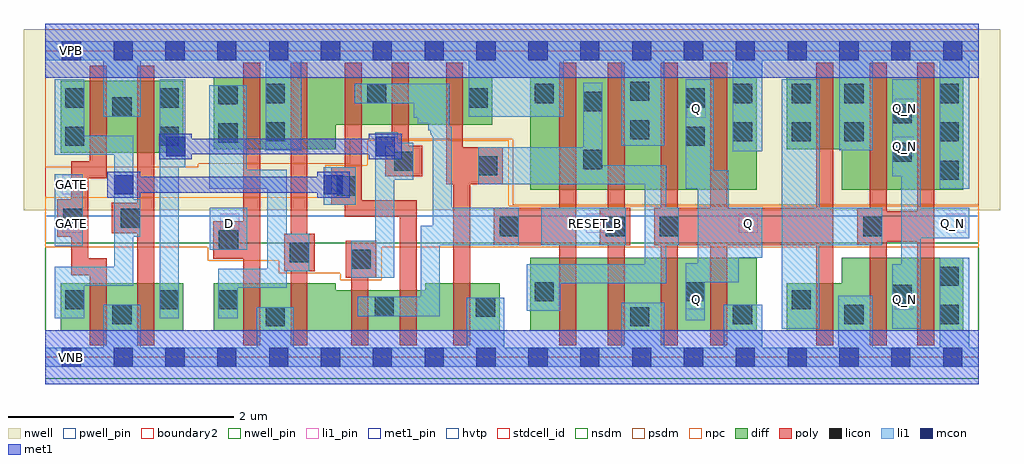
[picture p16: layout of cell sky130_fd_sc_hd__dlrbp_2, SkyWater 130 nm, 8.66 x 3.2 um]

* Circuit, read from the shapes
.subckt sky130_fd_sc_hd__dlrbp_2 D GATE Q Q_N RESET_B VGND VNB VPB VPWR
XM1 VGND GATE n1 VNB sky130_fd_pr__nfet_01v8 w=0.42 l=0.15
XM2 n2 n1 VGND VNB sky130_fd_pr__nfet_01v8 w=0.42 l=0.15
XM3 VGND D n3 VNB sky130_fd_pr__nfet_01v8 w=0.42 l=0.15
XM4 n4 n3 VGND VNB sky130_fd_pr__nfet_01v8 w=0.42 l=0.15
XM5 n5 n2 n4 VNB sky130_fd_pr__nfet_01v8 w=0.36 l=0.15
XM6 n6 n1 n5 VNB sky130_fd_pr__nfet_01v8 w=0.36 l=0.15
XM7 VGND n7 n6 VNB sky130_fd_pr__nfet_01v8 w=0.42 l=0.15
XM8 n8 n5 n7 VNB sky130_fd_pr__nfet_01v8 w=0.65 l=0.15
XM9 VGND RESET_B n8 VNB sky130_fd_pr__nfet_01v8 w=0.65 l=0.15
XM10 Q n7 VGND VNB sky130_fd_pr__nfet_01v8 w=0.65 l=0.15 m=2
XM11 VGND n7 n9 VNB sky130_fd_pr__nfet_01v8 w=0.42 l=0.15
XM12 Q_N n9 VGND VNB sky130_fd_pr__nfet_01v8 w=0.65 l=0.15 m=2
XM13 VPWR GATE n1 VPB sky130_fd_pr__pfet_01v8_hvt w=0.64 l=0.15
XM14 n2 n1 VPWR VPB sky130_fd_pr__pfet_01v8_hvt w=0.64 l=0.15
XM15 VPWR D n3 VPB sky130_fd_pr__pfet_01v8_hvt w=0.64 l=0.15
XM16 n10 n3 VPWR VPB sky130_fd_pr__pfet_01v8_hvt w=0.64 l=0.15
XM17 n5 n1 n10 VPB sky130_fd_pr__pfet_01v8_hvt w=0.42 l=0.15
XM18 n11 n2 n5 VPB sky130_fd_pr__pfet_01v8_hvt w=0.42 l=0.15
XM19 VPWR n7 n11 VPB sky130_fd_pr__pfet_01v8_hvt w=0.42 l=0.15
XM20 n7 n5 VPWR VPB sky130_fd_pr__pfet_01v8_hvt w=1 l=0.15
XM21 VPWR RESET_B n7 VPB sky130_fd_pr__pfet_01v8_hvt w=1 l=0.15
XM22 Q n7 VPWR VPB sky130_fd_pr__pfet_01v8_hvt w=1 l=0.15 m=2
XM23 VPWR n7 n9 VPB sky130_fd_pr__pfet_01v8_hvt w=0.64 l=0.15
XM24 Q_N n9 VPWR VPB sky130_fd_pr__pfet_01v8_hvt w=1 l=0.15 m=2
.ends

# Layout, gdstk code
import gdstk
lib = gdstk.Library(unit=1e-6, precision=1e-09)
def R(c, l, rs):  # rectangles x0, y0, x1, y1
    for r in rs: c.add(gdstk.rectangle(r[:2], r[2:], *l))
def A(c, l, x, y, w, h, nx, ny, dx, dy):  # array of equal rectangles
    R(c, l, [(x+i*dx, y+j*dy, x+i*dx+w, y+j*dy+h) for i in range(nx) for j in range(ny)])
def P(c, l, *ps):  # polygons
    for p in ps: c.add(gdstk.Polygon(p, *l))
nwell_pin = (64, 16)
nwell = (64, 20)
diff = (65, 20)
poly = (66, 20)
licon = (66, 44)
li1_pin = (67, 16)
li1 = (67, 20)
mcon = (67, 44)
met1_pin = (68, 16)
met1 = (68, 20)
hvtp = (78, 44)
stdcell_id = (81, 4)
nsdm = (93, 44)
psdm = (94, 20)
npc = (95, 20)
pwell_pin = (122, 16)
boundary2 = (236, 0)

sky130_fd_sc_hd__dlrbp_2 = lib.new_cell('sky130_fd_sc_hd__dlrbp_2')
R(sky130_fd_sc_hd__dlrbp_2, nwell_pin, [(0.15,2.635,0.32,2.805), (0.15,2.635,0.32,2.805)])
R(sky130_fd_sc_hd__dlrbp_2, nwell, [(-0.19,1.305,8.47,2.91)])
R(sky130_fd_sc_hd__dlrbp_2, diff, [(0.135,0.235,1.225,0.655), (4.3,0.235,6.31,0.885), (4.3,1.485,6.31,2.485), (0.135,1.815,1.225,2.455)])
P(sky130_fd_sc_hd__dlrbp_2, diff, [(1.495,1.845),(1.495,2.485),(3.965,2.485),(3.965,2.065),(2.575,2.065),(2.575,1.845)],
  [(1.495,0.235),(1.495,0.655),(2.575,0.655),(2.575,0.595),(3.37,0.595),(3.37,0.655),(4.03,0.655),(4.03,0.235)],
  [(7.065,1.485),(7.065,1.845),(6.58,1.845),(6.58,2.485),(8.145,2.485),(8.145,1.485)],
  [(6.58,0.235),(6.58,0.655),(7.065,0.655),(7.065,0.885),(8.145,0.885),(8.145,0.235)])
P(sky130_fd_sc_hd__dlrbp_2, poly, [(3.62,0.105),(3.62,1.535),(3.555,1.535),(3.555,2.615),(3.705,2.615),(3.705,1.865),(4.06,1.865),(4.06,1.535),(3.77,1.535),(3.77,0.105)],
  [(0.395,0.105),(0.395,0.73),(0.23,0.73),(0.23,1.07),(0.105,1.07),(0.105,1.4),(0.23,1.4),(0.23,1.74),(0.395,1.74),(0.395,2.585),(0.545,2.585),(0.545,1.59),(0.38,1.59),(0.38,0.88),(0.545,0.88),(0.545,0.105)],
  [(0.815,0.105),(0.815,1.1),(0.59,1.1),(0.59,1.37),(0.815,1.37),(0.815,2.585),(0.965,2.585),(0.965,0.105)],
  [(1.755,0.105),(1.755,0.875),(1.49,0.875),(1.49,1.205),(1.755,1.205),(1.755,2.615),(1.905,2.615),(1.905,0.105)],
  [(2.175,0.105),(2.175,0.765),(2.12,0.765),(2.12,1.095),(2.175,1.095),(2.175,2.615),(2.325,2.615),(2.325,1.095),(2.39,1.095),(2.39,0.765),(2.325,0.765),(2.325,0.105)],
  [(2.715,0.105),(2.715,0.705),(2.665,0.705),(2.665,1.035),(2.935,1.035),(2.935,0.705),(2.865,0.705),(2.865,0.105)],
  [(3.145,0.105),(3.145,1.245),(2.655,1.245),(2.655,1.355),(2.535,1.355),(2.535,1.685),(2.655,1.685),(2.655,2.615),(2.805,2.615),(2.805,1.395),(3.295,1.395),(3.295,0.105)],
  [(4.56,0.105),(4.56,0.995),(3.98,0.995),(3.98,1.325),(4.56,1.325),(4.56,2.615),(4.71,2.615),(4.71,0.105)],
  [(3.015,1.605),(3.015,1.875),(3.075,1.875),(3.075,2.615),(3.225,2.615),(3.225,1.875),(3.345,1.875),(3.345,1.605)],
  [(4.99,0.105),(4.99,0.995),(4.92,0.995),(4.92,1.325),(4.99,1.325),(4.99,2.615),(5.14,2.615),(5.14,1.325),(5.19,1.325),(5.19,0.995),(5.14,0.995),(5.14,0.105)],
  [(7.315,0.105),(7.315,0.995),(7.205,0.995),(7.205,1.325),(7.315,1.325),(7.315,2.615),(7.465,2.615),(7.465,1.295),(7.735,1.295),(7.735,2.615),(7.885,2.615),(7.885,0.105),(7.735,0.105),(7.735,1.025),(7.465,1.025),(7.465,0.105)],
  [(5.46,0.105),(5.46,0.995),(5.4,0.995),(5.4,1.325),(5.46,1.325),(5.46,2.615),(5.61,2.615),(5.61,1.325),(5.9,1.325),(5.9,2.615),(6.05,2.615),(6.05,1.325),(6.84,1.325),(6.84,2.615),(6.99,2.615),(6.99,0.105),(6.84,0.105),(6.84,0.995),(6.05,0.995),(6.05,0.105),(5.9,0.105),(5.9,0.995),(5.61,0.995),(5.61,0.105)])
A(sky130_fd_sc_hd__dlrbp_2, licon, 7.935, 1.575, 0.17, 0.17, 1, 3, 0, 0.34)
R(sky130_fd_sc_hd__dlrbp_2, licon, [(1.955,0.275,2.125,0.445), (5.19,0.275,5.36,0.445), (0.595,0.295,0.765,0.465), (6.1,0.295,6.27,0.465), (7.09,0.295,7.26,0.465), (7.935,0.295,8.105,0.465), (3.82,0.36,3.99,0.53), (2.92,0.365,3.09,0.535), (0.175,0.425,0.345,0.595), (1.015,0.425,1.185,0.595), (1.535,0.425,1.705,0.595), (6.62,0.425,6.79,0.595), (7.515,0.475,7.685,0.645), (4.34,0.495,4.51,0.665), (5.68,0.495,5.85,0.665), (7.935,0.635,8.105,0.805), (2.715,0.785,2.885,0.955), (2.17,0.845,2.34,1.015), (1.54,0.955,1.71,1.125), (4.03,1.075,4.2,1.245), (4.97,1.075,5.14,1.245), (5.45,1.075,5.62,1.245), (7.255,1.075,7.425,1.245), (0.16,1.15,0.33,1.32), (0.67,1.15,0.84,1.32), (2.585,1.435,2.755,1.605), (3.84,1.615,4.01,1.785), (3.095,1.655,3.265,1.825), (4.77,1.67,4.94,1.84), (7.515,1.735,7.685,1.905), (0.175,1.875,0.345,2.045), (1.015,1.875,1.185,2.045), (5.68,1.875,5.85,2.045), (1.535,1.905,1.705,2.075), (1.955,1.915,2.125,2.085), (6.1,1.915,6.27,2.085), (6.62,1.915,6.79,2.085), (7.09,1.915,7.26,2.085), (5.19,1.935,5.36,2.105), (7.515,2.075,7.685,2.245), (0.595,2.135,0.765,2.305), (4.77,2.185,4.94,2.355), (0.175,2.215,0.345,2.385), (1.015,2.215,1.185,2.385), (3.755,2.215,3.925,2.385), (5.68,2.215,5.85,2.385), (1.535,2.245,1.705,2.415), (1.955,2.255,2.125,2.425), (2.855,2.255,3.025,2.425), (4.34,2.255,4.51,2.425), (6.1,2.255,6.27,2.425), (6.62,2.255,6.79,2.425), (7.09,2.255,7.26,2.425), (5.19,2.275,5.36,2.445)])
R(sky130_fd_sc_hd__dlrbp_2, li1_pin, [(5.68,0.425,5.85,0.595), (7.535,0.425,7.705,0.595), (0.15,1.105,0.32,1.275), (1.55,1.105,1.72,1.275), (4.8,1.105,4.97,1.275), (6.15,1.105,6.32,1.275), (7.995,1.105,8.165,1.275), (0.15,1.445,0.32,1.615), (7.535,1.785,7.705,1.955), (5.69,2.125,5.86,2.295), (7.535,2.125,7.705,2.295)])
R(sky130_fd_sc_hd__dlrbp_2, li1, [(1.46,0.955,1.79,1.325), (0.085,0.985,0.33,1.625), (4.4,0.995,5.15,1.325), (2.47,1.355,2.755,1.685)])
P(sky130_fd_sc_hd__dlrbp_2, li1, [(0.085,0.345),(0.085,0.805),(0.61,0.805),(0.61,1.795),(0.085,1.795),(0.085,2.465),(0.345,2.465),(0.345,1.965),(0.78,1.965),(0.78,1.4),(0.84,1.4),(0.84,1.07),(0.78,1.07),(0.78,0.635),(0.345,0.635),(0.345,0.345)],
  [(1.015,0.345),(1.015,2.465),(1.24,2.465),(1.24,1.685),(1.185,1.685),(1.185,0.345)],
  [(1.535,0.345),(1.535,0.785),(1.97,0.785),(1.97,1.495),(1.455,1.495),(1.455,2.415),(1.785,2.415),(1.785,1.665),(2.14,1.665),(2.14,1.095),(2.34,1.095),(2.34,0.765),(2.14,0.765),(2.14,0.615),(1.705,0.615),(1.705,0.345)],
  [(2.715,0.705),(2.715,1.035),(2.925,1.035),(2.925,1.995),(3.125,1.995),(3.125,1.905),(3.265,1.905),(3.265,1.575),(3.095,1.575),(3.095,0.705)],
  [(2.77,0.365),(2.77,0.535),(3.33,0.535),(3.33,1.165),(3.435,1.165),(3.435,1.96),(3.43,1.96),(3.43,1.975),(3.42,1.975),(3.42,1.99),(3.415,1.99),(3.415,2.015),(3.395,2.015),(3.395,2.075),(3.305,2.075),(3.305,2.125),(3.27,2.125),(3.27,2.255),(2.745,2.255),(2.745,2.425),(3.585,2.425),(3.585,2.045),(3.605,2.045),(3.605,1.325),(4.2,1.325),(4.2,0.995),(3.5,0.995),(3.5,0.365)],
  [(7.935,1.495),(7.935,2.635),(7.34,2.635),(7.34,1.835),(7.045,1.835),(7.045,2.635),(6.36,2.635),(6.36,1.83),(6.1,1.83),(6.1,2.635),(5.49,2.635),(5.49,1.875),(5.11,1.875),(5.11,2.635),(4.6,2.635),(4.6,2.135),(3.755,2.135),(3.755,2.635),(2.27,2.635),(2.27,1.835),(1.955,1.835),(1.955,2.635),(0.845,2.635),(0.845,2.135),(0.515,2.135),(0.515,2.635),(0,2.635),(0,2.805),(8.28,2.805),(8.28,2.635),(8.195,2.635),(8.195,1.495)],
  [(4.27,0.415),(4.27,0.825),(5.32,0.825),(5.32,1.535),(3.84,1.535),(3.84,1.865),(4.77,1.865),(4.77,2.435),(4.94,2.435),(4.94,1.705),(5.51,1.705),(5.51,1.325),(5.62,1.325),(5.62,0.995),(5.51,0.995),(5.51,0.655),(4.57,0.655),(4.57,0.415)],
  [(7.515,0.255),(7.515,0.825),(7.595,0.825),(7.595,1.605),(7.515,1.605),(7.515,2.465),(7.765,2.465),(7.765,1.325),(8.195,1.325),(8.195,1.055),(7.765,1.055),(7.765,0.255)],
  [(0,-0.085),(0,0.085),(0.515,0.085),(0.515,0.465),(0.845,0.465),(0.845,0.085),(1.875,0.085),(1.875,0.445),(2.205,0.445),(2.205,0.085),(3.74,0.085),(3.74,0.53),(4.07,0.53),(4.07,0.085),(5.11,0.085),(5.11,0.485),(5.49,0.485),(5.49,0.085),(6.02,0.085),(6.02,0.465),(6.36,0.465),(6.36,0.085),(7.035,0.085),(7.035,0.545),(7.34,0.545),(7.34,0.085),(7.935,0.085),(7.935,0.885),(8.195,0.885),(8.195,0.085),(8.28,0.085),(8.28,-0.085)],
  [(5.68,0.33),(5.68,0.835),(5.79,0.835),(5.79,1.495),(5.68,1.495),(5.68,2.465),(5.93,2.465),(5.93,1.66),(6.065,1.66),(6.065,1.325),(6.36,1.325),(6.36,0.885),(6.15,0.885),(6.15,0.665),(5.85,0.665),(5.85,0.33)],
  [(6.535,0.255),(6.535,2.465),(6.87,2.465),(6.87,1.325),(7.425,1.325),(7.425,0.995),(6.865,0.995),(6.865,0.255)])
A(sky130_fd_sc_hd__dlrbp_2, mcon, 0.145, -0.085, 0.17, 0.17, 10, 2, 0.46, 2.72)
R(sky130_fd_sc_hd__dlrbp_2, mcon, [(4.285,-0.085,4.455,0.085), (4.745,-0.085,4.915,0.085), (4.745,-0.085,4.915,0.085), (5.205,-0.085,5.375,0.085), (5.205,-0.085,5.375,0.085), (5.665,-0.085,5.835,0.085), (5.665,-0.085,5.835,0.085), (6.125,-0.085,6.295,0.085), (6.125,-0.085,6.295,0.085), (6.585,-0.085,6.755,0.085), (6.585,-0.085,6.755,0.085), (7.045,-0.085,7.215,0.085), (7.045,-0.085,7.215,0.085), (7.505,-0.085,7.675,0.085), (7.505,-0.085,7.675,0.085), (7.965,-0.085,8.135,0.085), (7.965,-0.085,8.135,0.085), (0.61,1.445,0.78,1.615), (2.47,1.445,2.64,1.615), (1.07,1.785,1.24,1.955), (2.93,1.785,3.1,1.955), (4.285,2.635,4.455,2.805), (4.745,2.635,4.915,2.805), (4.745,2.635,4.915,2.805), (5.205,2.635,5.375,2.805), (5.205,2.635,5.375,2.805), (5.665,2.635,5.835,2.805), (5.665,2.635,5.835,2.805), (6.125,2.635,6.295,2.805), (6.125,2.635,6.295,2.805), (6.585,2.635,6.755,2.805), (6.585,2.635,6.755,2.805), (7.045,2.635,7.215,2.805), (7.045,2.635,7.215,2.805), (7.505,2.635,7.675,2.805), (7.505,2.635,7.675,2.805), (7.965,2.635,8.135,2.805), (7.965,2.635,8.135,2.805)])
R(sky130_fd_sc_hd__dlrbp_2, met1_pin, [(0.15,-0.085,0.32,0.085), (0.15,2.635,0.32,2.805)])
P(sky130_fd_sc_hd__dlrbp_2, met1, [(0.55,1.415),(0.55,1.645),(0.84,1.645),(0.84,1.6),(2.41,1.6),(2.41,1.645),(2.7,1.645),(2.7,1.415),(2.41,1.415),(2.41,1.46),(0.84,1.46),(0.84,1.415)],
  [(1.01,1.755),(1.01,1.985),(1.3,1.985),(1.3,1.94),(2.87,1.94),(2.87,1.985),(3.16,1.985),(3.16,1.755),(2.87,1.755),(2.87,1.8),(1.3,1.8),(1.3,1.755)])
R(sky130_fd_sc_hd__dlrbp_2, hvtp, [(0,1.25,8.28,2.72)])
R(sky130_fd_sc_hd__dlrbp_2, stdcell_id, [(0,0,8.28,2.72)])
R(sky130_fd_sc_hd__dlrbp_2, nsdm, [(0,-0.19,8.28,1.015)])
P(sky130_fd_sc_hd__dlrbp_2, psdm, [(4.145,1.355),(4.145,1.935),(2.705,1.935),(2.705,1.715),(1.355,1.715),(1.355,1.685),(0,1.685),(0,2.91),(8.28,2.91),(8.28,1.355)])
P(sky130_fd_sc_hd__dlrbp_2, npc, [(2.615,0.685),(2.615,0.745),(2.07,0.745),(2.07,0.855),(1.44,0.855),(1.44,0.975),(0,0.975),(0,1.42),(2.485,1.42),(2.485,1.705),(2.855,1.705),(2.855,1.925),(4.11,1.925),(4.11,1.345),(8.28,1.345),(8.28,0.975),(2.985,0.975),(2.985,0.685)])
R(sky130_fd_sc_hd__dlrbp_2, pwell_pin, [(0.15,-0.085,0.32,0.085), (0.15,-0.085,0.32,0.085)])
R(sky130_fd_sc_hd__dlrbp_2, boundary2, [(0,0,8.28,2.72)])
sky130_fd_sc_hd__dlrbp_2.add(gdstk.FlexPath([(0,2.72),(8.28,2.72)], 0.48, ends="flush", simple_path=True, layer=68, datatype=20))  # met1
sky130_fd_sc_hd__dlrbp_2.add(gdstk.FlexPath([(0,0),(8.28,0)], 0.48, ends="flush", simple_path=True, layer=68, datatype=20))  # met1
sky130_fd_sc_hd__dlrbp_2.add(gdstk.Label('Q', (5.775,2.21), layer=67, texttype=5))
sky130_fd_sc_hd__dlrbp_2.add(gdstk.Label('Q', (5.775,0.51), layer=67, texttype=5))
sky130_fd_sc_hd__dlrbp_2.add(gdstk.Label('Q', (6.235,1.19), layer=67, texttype=5))
sky130_fd_sc_hd__dlrbp_2.add(gdstk.Label('RESET_B', (4.885,1.19), layer=67, texttype=5))
sky130_fd_sc_hd__dlrbp_2.add(gdstk.Label('Q_N', (8.05,1.19), layer=67, texttype=5))
sky130_fd_sc_hd__dlrbp_2.add(gdstk.Label('Q_N', (7.62,2.21), layer=67, texttype=5))
sky130_fd_sc_hd__dlrbp_2.add(gdstk.Label('Q_N', (7.62,1.87), layer=67, texttype=5))
sky130_fd_sc_hd__dlrbp_2.add(gdstk.Label('Q_N', (7.62,0.51), layer=67, texttype=5))
sky130_fd_sc_hd__dlrbp_2.add(gdstk.Label('D', (1.635,1.19), layer=67, texttype=5))
sky130_fd_sc_hd__dlrbp_2.add(gdstk.Label('GATE', (0.235,1.19), layer=67, texttype=5))
sky130_fd_sc_hd__dlrbp_2.add(gdstk.Label('GATE', (0.235,1.53), layer=67, texttype=5))
sky130_fd_sc_hd__dlrbp_2.add(gdstk.Label('VNB', (0.235,0), layer=64, texttype=59))
sky130_fd_sc_hd__dlrbp_2.add(gdstk.Label('VNB', (0.235,0), layer=64, texttype=59))
sky130_fd_sc_hd__dlrbp_2.add(gdstk.Label('VPB', (0.235,2.72), layer=64, texttype=5))
sky130_fd_sc_hd__dlrbp_2.add(gdstk.Label('VPB', (0.235,2.72), layer=64, texttype=5))
sky130_fd_sc_hd__dlrbp_2.add(gdstk.Label('VGND', (0.235,0), layer=68, texttype=5))
sky130_fd_sc_hd__dlrbp_2.add(gdstk.Label('VPWR', (0.235,2.72), layer=68, texttype=5))
sky130_fd_sc_hd__dlrbp_2.add(gdstk.Label('dlrbp_2', (0,0), layer=83, texttype=44))

lib.write_gds('sky130_fd_sc_hd__dlrbp_2.gds')
